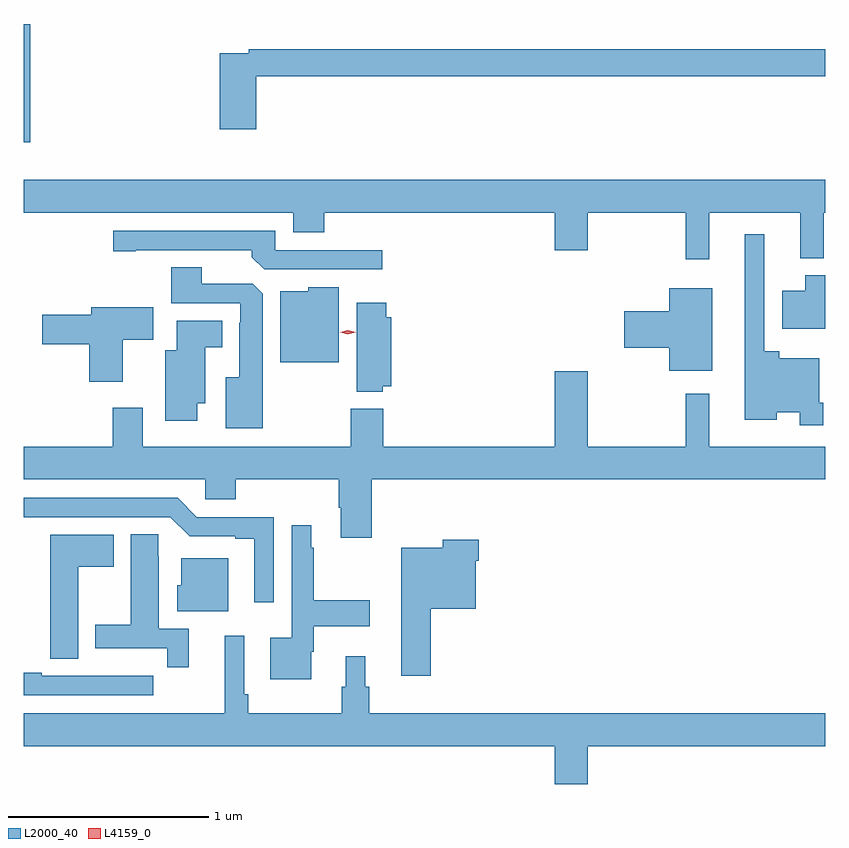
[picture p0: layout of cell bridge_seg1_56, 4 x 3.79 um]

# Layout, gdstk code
import gdstk
lib = gdstk.Library(unit=1e-6, precision=1e-09)
def R(c, l, rs):  # rectangles x0, y0, x1, y1
    for r in rs: c.add(gdstk.rectangle(r[:2], r[2:], *l))
def P(c, l, *ps):  # polygons
    for p in ps: c.add(gdstk.Polygon(p, *l))
L2000_40 = (2000, 40)
L4159_0 = (4159, 0)

bridge_seg1_56 = lib.new_cell('bridge_seg1_56')
R(bridge_seg1_56, L2000_40, [(426.093,545.424,426.125,546.013)])
P(bridge_seg1_56, L2000_40, [(427.253,545.752),(430.093,545.752),(430.093,545.888),(427.216,545.888),(427.216,545.868),(427.07,545.868),(427.07,545.487),(427.253,545.487)],
  [(429.515,545.072),(429.968,545.072),(429.968,544.844),(430.085,544.844),(430.085,545.072),(430.093,545.072),(430.093,545.236),(426.093,545.236),(426.093,545.072),(427.439,545.072),(427.439,544.973),(427.592,544.973),(427.592,545.072),(428.744,545.072),(428.744,544.884),(428.908,544.884),(428.908,545.072),(429.397,545.072),(429.397,544.839),(429.515,544.839)],
  [(427.882,544.884),(427.347,544.884),(427.347,544.98),(426.54,544.98),(426.54,544.879),(426.652,544.879),(426.652,544.884),(427.232,544.884),(427.232,544.85),(427.293,544.788),(427.882,544.788)],
  [(430.082,544.123),(430.062,544.123),(430.062,544.345),(429.863,544.345),(429.863,544.381),(429.789,544.381),(429.789,544.963),(429.692,544.963),(429.692,544.037),(429.85,544.037),(429.85,544.076),(429.966,544.076),(429.966,544.011),(430.082,544.011)],
  [(427.285,544.667),(427.236,544.716),(426.982,544.716),(426.982,544.799),(426.83,544.799),(426.83,544.62),(427.173,544.62),(427.173,544.523),(427.169,544.523),(427.169,544.249),(427.1,544.249),(427.1,543.995),(427.285,543.995)],
  [(430.093,544.759),(429.992,544.759),(429.992,544.681),(429.878,544.681),(429.878,544.493),(430.093,544.493)],
  [(427.666,544.699),(427.512,544.699),(427.512,544.678),(427.373,544.678),(427.373,544.325),(427.666,544.325)],
  [(429.529,544.693),(429.314,544.693),(429.314,544.58),(429.09,544.58),(429.09,544.397),(429.314,544.397),(429.314,544.283),(429.529,544.283)],
  [(427.884,544.205),(427.927,544.205),(427.927,544.549),(427.901,544.549),(427.901,544.621),(427.754,544.621),(427.754,544.178),(427.884,544.178)],
  [(426.586,544.438),(426.739,544.438),(426.739,544.6),(426.431,544.6),(426.431,544.562),(426.186,544.562),(426.186,544.415),(426.419,544.415),(426.419,544.227),(426.586,544.227)],
  [(426.958,544.121),(427,544.121),(427,544.4),(427.084,544.4),(427.084,544.531),(426.857,544.531),(426.857,544.384),(426.8,544.384),(426.8,544.032),(426.958,544.032)],
  [(427.829,543.74),(430.093,543.74),(430.093,543.904),(429.514,543.904),(429.514,544.168),(429.397,544.168),(429.397,543.904),(428.908,543.904),(428.908,544.279),(428.744,544.279),(428.744,543.904),(427.886,543.904),(427.886,544.093),(427.726,544.093),(427.726,543.904),(426.688,543.904),(426.688,544.099),(426.536,544.099),(426.536,543.904),(426.093,543.904),(426.093,543.74),(426.999,543.74),(426.999,543.642),(427.151,543.642),(427.151,543.74),(427.664,543.74),(427.664,543.598),(427.676,543.598),(427.676,543.45),(427.829,543.45)],
  [(427.341,543.552),(426.957,543.552),(426.861,543.648),(426.093,543.648),(426.093,543.552),(426.825,543.552),(426.921,543.456),(427.148,543.456),(427.148,543.444),(427.244,543.444),(427.244,543.126),(427.341,543.126)],
  [(427.528,542.88),(427.54,542.88),(427.54,543.008),(427.819,543.008),(427.819,543.138),(427.54,543.138),(427.54,543.398),(427.528,543.398),(427.528,543.511),(427.431,543.511),(427.431,542.95),(427.322,542.95),(427.322,542.744),(427.528,542.744)],
  [(426.917,542.994),(426.766,542.994),(426.766,543.356),(426.765,543.356),(426.765,543.467),(426.626,543.467),(426.626,543.015),(426.449,543.015),(426.449,542.898),(426.808,542.898),(426.808,542.802),(426.917,542.802)],
  [(426.364,543.304),(426.541,543.304),(426.541,543.463),(426.224,543.463),(426.224,542.953),(426.225,542.953),(426.225,542.845),(426.364,542.845)],
  [(428.123,543.095),(428.35,543.095),(428.35,543.335),(428.363,543.335),(428.363,543.439),(428.185,543.439),(428.185,543.4),(427.976,543.4),(427.976,542.76),(428.123,542.76)],
  [(427.114,543.346),(426.878,543.346),(426.878,543.213),(426.86,543.213),(426.86,543.083),(427.114,543.083)],
  [(428.908,542.408),(430.093,542.408),(430.093,542.572),(427.817,542.572),(427.817,542.706),(427.798,542.706),(427.798,542.857),(427.7,542.857),(427.7,542.706),(427.681,542.706),(427.681,542.572),(427.214,542.572),(427.214,542.668),(427.194,542.668),(427.194,542.959),(427.097,542.959),(427.097,542.572),(426.093,542.572),(426.093,542.408),(428.744,542.408),(428.744,542.22),(428.908,542.22)],
  [(426.739,542.76),(426.626,542.76),(426.626,542.761),(426.46,542.761),(426.46,542.76),(426.184,542.76),(426.184,542.775),(426.093,542.775),(426.093,542.664),(426.739,542.664)])
P(bridge_seg1_56, L4159_0, [(427.711,544.465),(427.673,544.474),(427.673,544.475),(427.673,544.475),(427.711,544.485),(427.749,544.475),(427.749,544.475),(427.749,544.474)])

lib.write_gds('bridge_seg1_56.gds')
